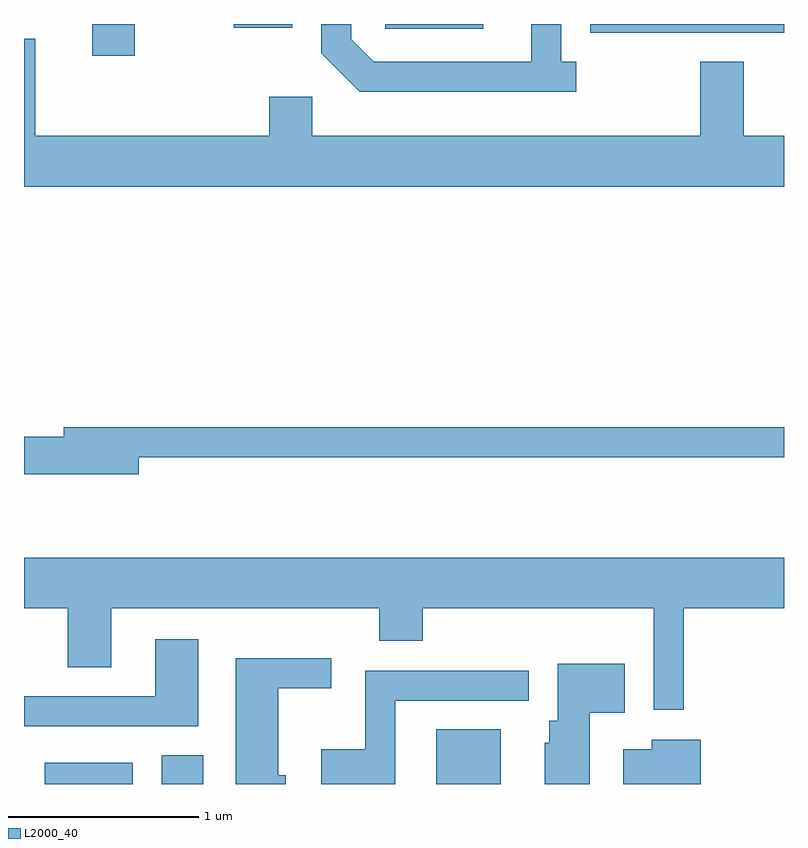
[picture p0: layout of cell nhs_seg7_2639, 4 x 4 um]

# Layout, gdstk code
import gdstk
lib = gdstk.Library(unit=1e-6, precision=1e-09)
def R(c, l, rs):  # rectangles x0, y0, x1, y1
    for r in rs: c.add(gdstk.rectangle(r[:2], r[2:], *l))
def P(c, l, *ps):  # polygons
    for p in ps: c.add(gdstk.Polygon(p, *l))
L2000_40 = (2000, 40)

nhs_seg7_2639 = lib.new_cell('nhs_seg7_2639')
R(nhs_seg7_2639, L2000_40, [(265.721,1742.252,266.184,1742.364), (266.336,1742.252,266.554,1742.404), (267.781,1742.252,268.119,1742.539), (265.971,1746.086,266.194,1746.252), (268.591,1746.206,269.611,1746.252), (267.511,1746.226,268.028,1746.252), (266.716,1746.231,267.024,1746.252)])
P(nhs_seg7_2639, L2000_40, [(268.518,1746.054),(268.439,1746.054),(268.439,1746.252),(268.281,1746.252),(268.281,1746.054),(267.452,1746.054),(267.334,1746.172),(267.334,1746.252),(267.176,1746.252),(267.176,1746.099),(267.379,1745.896),(268.518,1745.896)],
  [(269.611,1745.664),(269.399,1745.664),(269.399,1746.054),(269.171,1746.054),(269.171,1745.664),(267.129,1745.664),(267.129,1745.869),(266.901,1745.869),(266.901,1745.664),(265.669,1745.664),(265.669,1746.174),(265.611,1746.174),(265.611,1745.396),(269.611,1745.396)],
  [(266.214,1743.971),(269.611,1743.971),(269.611,1744.129),(265.821,1744.129),(265.821,1744.079),(265.611,1744.079),(265.611,1743.881),(266.214,1743.881)],
  [(269.084,1743.176),(269.611,1743.176),(269.611,1743.444),(265.611,1743.444),(265.611,1743.176),(265.841,1743.176),(265.841,1742.866),(266.069,1742.866),(266.069,1743.176),(267.481,1743.176),(267.481,1743.006),(267.709,1743.006),(267.709,1743.176),(268.926,1743.176),(268.926,1742.643),(269.084,1742.643)],
  [(266.529,1743.014),(266.301,1743.014),(266.301,1742.714),(265.611,1742.714),(265.611,1742.556),(266.529,1742.556)],
  [(266.989,1742.299),(266.949,1742.299),(266.949,1742.756),(267.228,1742.756),(267.228,1742.914),(266.726,1742.914),(266.726,1742.252),(266.989,1742.252)],
  [(268.589,1742.626),(268.774,1742.626),(268.774,1742.884),(268.421,1742.884),(268.421,1742.584),(268.376,1742.584),(268.376,1742.469),(268.351,1742.469),(268.351,1742.252),(268.589,1742.252)],
  [(267.564,1742.691),(268.268,1742.691),(268.268,1742.849),(267.406,1742.849),(267.406,1742.434),(267.176,1742.434),(267.176,1742.252),(267.564,1742.252)],
  [(269.174,1742.484),(268.916,1742.484),(268.916,1742.434),(268.766,1742.434),(268.766,1742.252),(269.174,1742.252)])

lib.write_gds('nhs_seg7_2639.gds')
